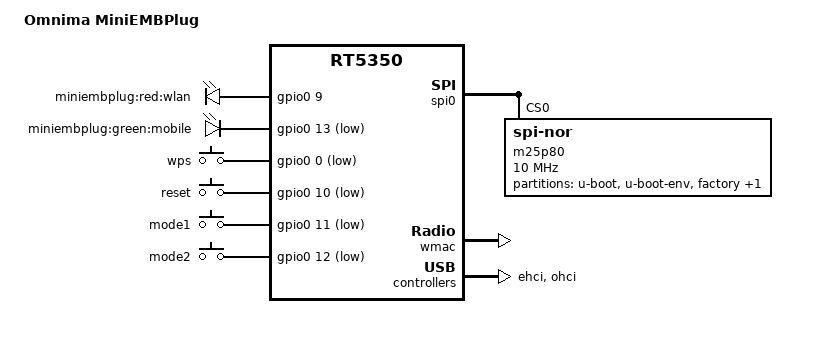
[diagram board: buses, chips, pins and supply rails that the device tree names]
/dts-v1/;

#include "rt5350.dtsi"

/ {
	compatible = "MINIEMBPLUG", "ralink,rt5350-soc";
	model = "Omnima MiniEMBPlug";

	gpio-leds {
		compatible = "gpio-leds";

		wlan {
			label = "miniembplug:red:wlan";
			gpios = <&gpio0 9 0>;
		};

		mobile {
			label = "miniembplug:green:mobile";
			gpios = <&gpio0 13 1>;
		};
	};

	gpio-keys-polled {
		compatible = "gpio-keys-polled";
		#address-cells = <1>;
		#size-cells = <0>;
		poll-interval = <20>;

		wps {
			label = "wps";
			gpios = <&gpio0 0 1>;
			linux,code = <0x211>;
		};

		reset {
			label = "reset";
			gpios = <&gpio0 10 1>;
			linux,code = <0x211>;
		};

		mode-one {
			label = "mode1";
			gpios = <&gpio0 11 1>;
			linux,code = <0x211>;
		};

		mode-two {
			label = "mode2";
			gpios = <&gpio0 12 1>;
			linux,code = <0x211>;
		};
	};
};

&pinctrl {
	state_default: pinctrl0 {
		gpio {
			ralink,group = "i2c", "jtag", "uartf";
			ralink,function = "gpio";
		};
	};
};

&gpio0 {
	status = "okay";
};

&spi0 {
	status = "okay";

	m25p80@0 {
		#address-cells = <1>;
		#size-cells = <1>;
		compatible = "jedec,spi-nor";
		reg = <0>;
		linux,modalias = "m25p80", "mx25l6405d";
		spi-max-frequency = <10000000>;

		partition@0 {
			label = "u-boot";
			reg = <0x0 0x30000>;
			read-only;
		};

		partition@30000 {
			label = "u-boot-env";
			reg = <0x30000 0x10000>;
			read-only;
		};

		factory: partition@40000 {
			label = "factory";
			reg = <0x40000 0x10000>;
			read-only;
		};

		partition@50000 {
			label = "firmware";
			reg = <0x50000 0x7b0000>;
		};
	};
};

&ethernet {
	mtd-mac-address = <&factory 0x4>;
};

&esw {
	mediatek,portmap = <0x2f>;
};

&wmac {
	ralink,mtd-eeprom = <&factory 0>;
};

&ehci {
	status = "okay";
};

&ohci {
	status = "okay";
};
